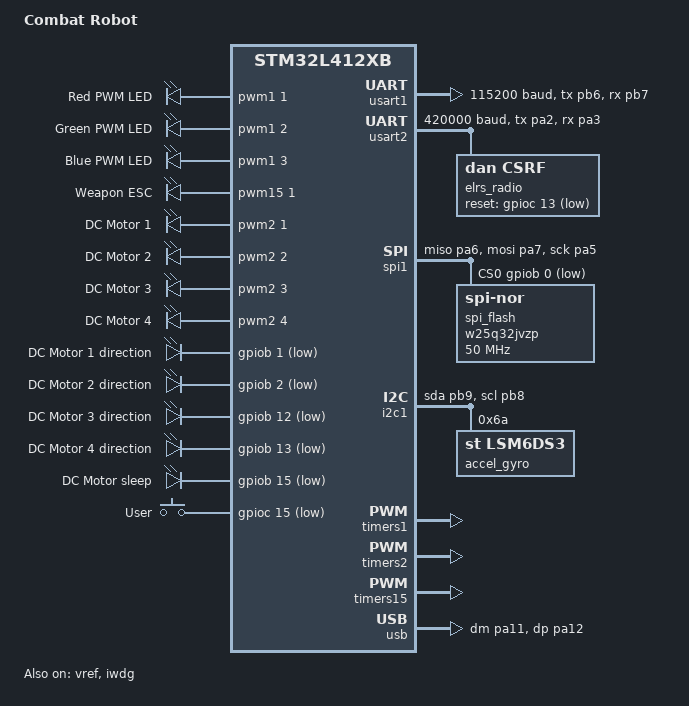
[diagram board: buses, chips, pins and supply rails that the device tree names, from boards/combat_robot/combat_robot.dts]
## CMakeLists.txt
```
cmake_minimum_required(VERSION 3.20.0)

find_package(Zephyr REQUIRED HINTS $ENV{ZEPHYR_BASE})
project(combat_robot)

target_sources(app PRIVATE
    src/main.c
    src/led.c
)

add_subdirectory(drivers/misc)
add_subdirectory(drivers/sensor)

include_directories(include)
```

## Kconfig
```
source "Kconfig.zephyr"

rsource "drivers/**/Kconfig"
```

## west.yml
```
manifest:
  version: "0.13"

  remotes:
    - name: zephyrproject
      url-base: https://github.com/zephyrproject-rtos

  projects:
    - name: zephyr
      remote: zephyrproject
      revision: v4.0.0
      import: True

  self:
    path: firmware
```

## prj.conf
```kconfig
CONFIG_PICOLIBC=y
CONFIG_ASSERT=y
CONFIG_REBOOT=y
CONFIG_FPU=y

CONFIG_UART_CONSOLE=y

CONFIG_LOG=y
CONFIG_LOG_MODE_DEFERRED=y
CONFIG_LOG_BACKEND_UART=y

CONFIG_LED=y
CONFIG_SENSOR=y

# Required when we're using CDC for logging
CONFIG_USB_CDC_ACM_LOG_LEVEL_OFF=y

CONFIG_WATCHDOG=y
```

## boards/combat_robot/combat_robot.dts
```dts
/*
 * Copyright (c) 2024 Dan Collins
 */

/dts-v1/;
#include <st/l4/stm32l412XB.dtsi>
#include <st/l4/stm32l412cbtx-pinctrl.dtsi>

#include <zephyr/dt-bindings/input/input-event-codes.h>
#include <zephyr/dt-bindings/pwm/pwm.h>

/ {
	model = "Combat Robot";
	compatible = "dancollins,combat_robot";

	chosen {
		zephyr,console = &cdc_acm_uart0;
		zephyr,shell-uart = &cdc_acm_uart0;
		zephyr,sram = &sram0;
		zephyr,flash = &flash0;

		combat,esc-uart = &usart1;
	};

	rgb-led {
		compatible = "pwm-leds";

		red_led_pwm: led_pwm_0 {
			pwms = <&pwm1 1 PWM_MSEC(20) PWM_POLARITY_INVERTED>;
			label = "Red PWM LED";
		};

		green_led_pwm: led_pwm_1 {
			pwms = <&pwm1 2 PWM_MSEC(20) PWM_POLARITY_INVERTED>;
			label = "Green PWM LED";
		};

		blue_led_pwm: led_pwm_2 {
			pwms = <&pwm1 3 PWM_MSEC(20) PWM_POLARITY_INVERTED>;
			label = "Blue PWM LED";
		};
	};

	esc {
		compatible = "pwm-leds";

		esc0: esc_0 {
			pwms = <&pwm15 1 PWM_MSEC(20) PWM_POLARITY_NORMAL>;
			label = "Weapon ESC";
		};
	};

	dc-motors {
		compatible = "pwm-leds";

		dc1: dc1 {
			pwms = <&pwm2 1 PWM_MSEC(20) PWM_POLARITY_NORMAL>;
			label = "DC Motor 1";
		};

		dc2: dc2 {
			pwms = <&pwm2 2 PWM_MSEC(20) PWM_POLARITY_NORMAL>;
			label = "DC Motor 2";
		};

		dc3: dc3 {
			pwms = <&pwm2 3 PWM_MSEC(20) PWM_POLARITY_NORMAL>;
			label = "DC Motor 3";
		};

		dc4: dc4 {
			pwms = <&pwm2 4 PWM_MSEC(20) PWM_POLARITY_NORMAL>;
			label = "DC Motor 4";
		};
	};

	dc-dir1 {
		compatible = "gpio-leds";

		dc_dir1: dc_dir1 {
			gpios = <&gpiob 1 GPIO_ACTIVE_LOW>;
			label = "DC Motor 1 direction";
		};
	};

	dc-dir2 {
		compatible = "gpio-leds";

		dc_dir2: dc_dir2 {
			gpios = <&gpiob 2 GPIO_ACTIVE_LOW>;
			label = "DC Motor 2 direction";
		};
	};

	dc-dir3 {
		compatible = "gpio-leds";

		dc_dir3: dc_dir3 {
			gpios = <&gpiob 12 GPIO_ACTIVE_LOW>;
			label = "DC Motor 3 direction";
		};
	};

	dc-dir4 {
		compatible = "gpio-leds";

		dc_dir4: dc_dir4 {
			gpios = <&gpiob 13 GPIO_ACTIVE_LOW>;
			label = "DC Motor 4 direction";
		};
	};

	dc-sleep {
		compatible = "gpio-leds";

		dc_sleep: sleep {
			gpios = <&gpiob 15 GPIO_ACTIVE_LOW>;
			label = "DC Motor sleep";
		};
	};

	gpio_keys {
		compatible = "gpio-keys";
		user_button: button {
			label = "User";
			gpios = <&gpioc 15 GPIO_ACTIVE_LOW>;
			zephyr,code = <INPUT_KEY_0>;
		};
	};

	aliases {
		watchdog0 = &iwdg;
	};
};

&usart1 {
	status = "okay";

	current-speed = <115200>;

	pinctrl-0 = <&usart1_tx_pb6 &usart1_rx_pb7>;
	pinctrl-names = "default";
};

&usart2 {
	status = "okay";

	current-speed = <420000>;

	pinctrl-0 = <&usart2_tx_pa2 &usart2_rx_pa3>;
	pinctrl-names = "default";

	elrs_radio: elrs_radio {
		compatible = "dan,csrf";

		reset-gpios = <&gpioc 13 GPIO_ACTIVE_LOW>;
	};
};

&spi1 {
	status = "okay";

	cs-gpios = <&gpiob 0 GPIO_ACTIVE_LOW>;

	pinctrl-0 = <&spi1_miso_pa6 &spi1_mosi_pa7 &spi1_sck_pa5>;
	pinctrl-names = "default";

	spi_flash: w25q32jvzp@0 {
		compatible = "jedec,spi-nor";
		status = "okay";
		reg = < 0 >;
		spi-max-frequency = < DT_FREQ_M(50) >;
		size = < 0x2000000 >; /* 32 Mbit */
		jedec-id = [ ef 40 16 ];

		has-dpd;
		t-enter-dpd = < 3000 >;
		t-exit-dpd = < 30000 >;
	};
};

&i2c1 {
	status = "okay";

	pinctrl-0 = <&i2c1_sda_pb9 &i2c1_scl_pb8>;
	pinctrl-names = "default";

	accel_gyro: lsm6ds3@6a {
		compatible = "st,lsm6ds3";
		reg = <0x6a>;
	};
};

&timers1 {
	status = "okay";
	st,prescaler = <10000>;

	/* RGB LEDs. */
	pwm1: pwm {
		status = "okay";
		pinctrl-0 = <&tim1_ch1_pa8 &tim1_ch2_pa9 &tim1_ch3_pa10>;
		pinctrl-names = "default";
	};
};

&timers2 {
	status = "okay";
	st,prescaler = <10000>;

	/* DC motor drivers. */
	pwm2: pwm {
		status = "okay";
		pinctrl-0 = <&tim2_ch1_pa15 &tim2_ch2_pb3 &tim2_ch3_pb10 &tim2_ch4_pb11>;
		pinctrl-names = "default";
	};
};

&timers15 {
	status = "okay";
	st,prescaler = <10000>;

	pwm15: pwm {
		status = "okay";
		pinctrl-0 = <&tim15_ch1_pb14>;
		pinctrl-names = "default";
	};
};

zephyr_udc0: &usb {
	pinctrl-0 = <&usb_dm_pa11 &usb_dp_pa12>;
	pinctrl-names = "default";
	status = "okay";

	cdc_acm_uart0: cdc_acm_uart0 {
		compatible = "zephyr,cdc-acm-uart";
	};
};

&clk_lsi {
	status = "okay";
};

&clk_hsi {
	status = "okay";
};

&clk_hsi48 {
	status = "okay";
};

&pll {
	div-m = <1>;
	mul-n = <10>;
	div-q = <2>;
	div-r = <2>;
	clocks = <&clk_hsi>;
	status = "okay";
};

&rcc {
	clocks = <&pll>;
	clock-frequency = <DT_FREQ_M(80)>;
	ahb-prescaler = <1>;
	apb1-prescaler = <1>;
	apb2-prescaler = <1>;
};

&vref {
	status = "okay";
};

&iwdg {
	status = "okay";
};

&wwdg {
	status = "disabled";
};
```

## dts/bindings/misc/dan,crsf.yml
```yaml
description: Dan's Crossfire driver - compatible with ExpressLRS

compatible: "dan,csrf"

include: base.yaml

properties:
  reset-gpios:
    description: GPIO pin to reset the receiver
    type: phandle-array
```

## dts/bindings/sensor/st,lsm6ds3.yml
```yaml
description: |
  LSM6DS3TR-C iNEMO 6DoF inertial measurement unit.

compatible: "st,lsm6ds3"

include: [sensor-device.yaml, i2c-device.yaml]
```

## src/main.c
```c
#include "main.h"

#include <math.h>
#include <string.h>
#include <zephyr/device.h>
#include <zephyr/drivers/flash.h>
#include <zephyr/drivers/gpio.h>
#include <zephyr/drivers/led.h>
#include <zephyr/drivers/pwm.h>
#include <zephyr/drivers/uart.h>
#include <zephyr/drivers/watchdog.h>
#include <zephyr/kernel.h>

#include "drivers/misc/csrf.h"

static const struct device *const wdt = DEVICE_DT_GET(DT_ALIAS(watchdog0));

static const struct device *elrs_radio =
    DEVICE_DT_GET(DT_NODELABEL(elrs_radio));

static const struct device *imu = DEVICE_DT_GET(DT_NODELABEL(accel_gyro));

static const struct pwm_dt_spec esc_pwm = PWM_DT_SPEC_GET(DT_NODELABEL(esc0));

static const struct pwm_dt_spec dc_motor_1 = PWM_DT_SPEC_GET(DT_NODELABEL(dc1));
static const struct pwm_dt_spec dc_motor_2 = PWM_DT_SPEC_GET(DT_NODELABEL(dc2));
static const struct pwm_dt_spec dc_motor_3 = PWM_DT_SPEC_GET(DT_NODELABEL(dc3));
static const struct pwm_dt_spec dc_motor_4 = PWM_DT_SPEC_GET(DT_NODELABEL(dc4));

static const struct gpio_dt_spec dc_motor_1_dir =
    GPIO_DT_SPEC_GET(DT_NODELABEL(dc_dir1), gpios);

static const struct gpio_dt_spec dc_motor_2_dir =
    GPIO_DT_SPEC_GET(DT_NODELABEL(dc_dir2), gpios);

static const struct gpio_dt_spec dc_motor_3_dir =
    GPIO_DT_SPEC_GET(DT_NODELABEL(dc_dir3), gpios);

static const struct gpio_dt_spec dc_motor_4_dir =
    GPIO_DT_SPEC_GET(DT_NODELABEL(dc_dir4), gpios);

static const struct gpio_dt_spec dc_motor_sleep =
    GPIO_DT_SPEC_GET(DT_NODELABEL(dc_sleep), gpios);

/* Work for killing the motors if the radio stops. */
static void stop_motors_work_handler(struct k_work *work);
K_WORK_DELAYABLE_DEFINE(stop_motors_work, stop_motors_work_handler);

static k_timeout_t stop_motors_timeout = K_MSEC(500);

static bool armed = false;

struct rcmix_data
{
    uint32_t fleft, rleft;
    bool fleft_dir, rleft_dir;

    uint32_t fright, rright;
    bool fright_dir, rright_dir;

    uint32_t weapon_pulse;
} rcmix_data;

static void update_channel_data(struct rcmix_data *data,
                                const struct csrf_channel_data *channels)
{
    /* RC channels run 0-2047.
     * Weapon ESC is 1000-2000 us.
     * DC motors are 0-20000 us. */

    static unsigned left_ch = 2;
    static unsigned right_ch = 1;
    static unsigned arm_btn = 7;
    static unsigned weapon_ch = 9;

    float left = channels->ch[left_ch] - 1024;
    float right = channels->ch[right_ch] - 1024;
    uint16_t weapon = channels->ch[weapon_ch];

    armed = channels->ch[arm_btn] > 1024;

    left = CLAMP(left / 1024.0f, -1.0f, 1.0f);
    right = CLAMP(right / 1024.0f, -1.0f, 1.0f);

    data->fleft = (uint32_t)(fabsf(left) * 20000000);
    data->fleft = CLAMP(data->fleft, 0, 20000000);

    data->fright = (uint32_t)(fabsf(right) * 20000000);
    data->fright = CLAMP(data->fright, 0, 20000000);

    data->rleft = data->fleft;
    data->rright = data->fright;

    if (left > 0) {
        data->fleft_dir = false;
        data->rleft_dir = false;
    } else {
        data->fleft_dir = true;
        data->rleft_dir = true;
    }

    if (right > 0) {
        data->fright_dir = true;
        data->rright_dir = true;
    } else {
        data->fright_dir = false;
        data->rright_dir = false;
    }

    const unsigned weapon_pulse_min = 1000000;
    const unsigned weapon_pulse_max = 2000000;

    data->weapon_pulse = (weapon * 500) + 1000000;
    data->weapon_pulse =
        CLAMP(data->weapon_pulse, weapon_pulse_min, weapon_pulse_max);

    if (armed) {
        led_set_state(LED_STATE_ARMED);
    } else {
        led_set_state(LED_STATE_DISARMED);
        data->weapon_pulse = weapon_pulse_min;
    }
}

static void csrf_channel_callback(const struct csrf_channel_data *channels)
{
    static unsigned count = 0;

    update_channel_data(&rcmix_data, channels);

    count++;
    if (count > 1000) {
        printk("ch");
        for (int i = 0; i < 16; i++) {
            printk(" %d", channels->ch[i]);
        }
        printk("\n");
        count = 0;
    }

    k_work_reschedule(&stop_motors_work, stop_motors_timeout);

    if (rcmix_data.fleft == 0 && rcmix_data.rleft == 0 &&
        rcmix_data.fright == 0 && rcmix_data.rright == 0) {
        gpio_pin_set_dt(&dc_motor_sleep, 1);
    } else {
        gpio_pin_set_dt(&dc_motor_sleep, 0);
    }

    /* Here's the mapping between logical channels and PWM channels! */
    gpio_pin_set_dt(&dc_motor_1_dir, rcmix_data.fleft_dir);
    gpio_pin_set_dt(&dc_motor_2_dir, !rcmix_data.fright_dir);
    gpio_pin_set_dt(&dc_motor_3_dir, rcmix_data.rright_dir);
    gpio_pin_set_dt(&dc_motor_4_dir, !rcmix_data.rleft_dir);

    pwm_set_pulse_dt(&dc_motor_1, rcmix_data.fleft);
    pwm_set_pulse_dt(&dc_motor_2, rcmix_data.fright);
    pwm_set_pulse_dt(&dc_motor_3, rcmix_data.rright);
    pwm_set_pulse_dt(&dc_motor_4, rcmix_data.rleft);

    pwm_set_pulse_dt(&esc_pwm, rcmix_data.weapon_pulse);
}

static void stop_motors_work_handler(struct k_work *work)
{
    pwm_set_pulse_dt(&dc_motor_1, 0);
    pwm_set_pulse_dt(&dc_motor_2, 0);
    pwm_set_pulse_dt(&dc_motor_3, 0);
    pwm_set_pulse_dt(&dc_motor_4, 0);

    pwm_set_pulse_dt(&esc_pwm, 1000000);

    led_set_state(LED_STATE_NO_RADIO);
}

static void init_watchdog(void)
{
    const unsigned wdt_min = 0;
    const unsigned wdt_max = 3000;

    int rc;

    if (!device_is_ready(wdt)) {
        printk("%s: device not ready.\n", wdt->name);
        return;
    }

    struct wdt_timeout_cfg wdt_config = {
        /* Reset SoC when watchdog timer expires. */
        .flags = WDT_FLAG_RESET_SOC,

        /* Expire watchdog after max window */
        .window.min = wdt_min,
        .window.max = wdt_max,
    };

    rc = wdt_install_timeout(wdt, &wdt_config);
    if (rc < 0) {
        printk("Failed to configure WDT.");
        return;
    }

    rc = wdt_setup(wdt, WDT_OPT_PAUSE_HALTED_BY_DBG);
    if (rc < 0) {
        printk("Failed to setup WDT.");
        return;
    }
}

int main(void)
{
    init_watchdog();

    if (!device_is_ready(elrs_radio)) {
        printk("ELRS radio device not ready\n");
    }

    if (!device_is_ready(imu)) {
        printk("IMU not ready\n");
    }

    printk("Hello, world!\n");

    csrf_set_channel_callback(elrs_radio, csrf_channel_callback);

    /* Zero out our speeds until we've got control data. */
    memset(&rcmix_data, 0, sizeof(rcmix_data));
    rcmix_data.weapon_pulse = 1000000;

    gpio_pin_set_dt(&dc_motor_sleep, 1);

    gpio_pin_set_dt(&dc_motor_1_dir, 0);
    gpio_pin_set_dt(&dc_motor_2_dir, 0);
    gpio_pin_set_dt(&dc_motor_3_dir, 0);
    gpio_pin_set_dt(&dc_motor_4_dir, 0);

    pwm_set_pulse_dt(&dc_motor_1, 0);
    pwm_set_pulse_dt(&dc_motor_2, 0);
    pwm_set_pulse_dt(&dc_motor_3, 0);
    pwm_set_pulse_dt(&dc_motor_4, 0);

    pwm_set_pulse_dt(&esc_pwm, 1000000);

    led_set_state(LED_STATE_NO_RADIO);

    while (1) {
        wdt_feed(wdt, 0);
        k_sleep(K_SECONDS(1));
    }

    return 0;
}
```

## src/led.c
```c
#include <zephyr/drivers/led.h>
#include <zephyr/kernel.h>

#include "main.h"

static const struct device *rgb = DEVICE_DT_GET(DT_PATH(rgb_led));

/**
 * @brief A colour in RGB space.
 */
struct rgb_colour
{
    uint8_t r, g, b;
};

/**
 * @brief A frame in the LED animation.
 */
struct frame
{
    /* The colour to set the LED to. */
    struct rgb_colour colour;
    /* How long to stay in this frame. */
    unsigned duration_ms;
};

#define RGB(r_, g_, b_) {.r = r_, .g = g_, .b = b_}

#define LED_PATTERN_BLINK2(colour_, interval_on_, interval_off_) \
    {                                                            \
        {.colour = colour_, .duration_ms = interval_on_},        \
        {                                                        \
            .colour = RGB(0, 0, 0), .duration_ms = interval_off_ \
        }                                                        \
    }

#define LED_PATTERN_BLINK(colour_, interval_)                \
    {                                                        \
        {.colour = colour_, .duration_ms = interval_},       \
        {                                                    \
            .colour = RGB(0, 0, 0), .duration_ms = interval_ \
        }                                                    \
    }

static const struct frame pattern_init[] = {
    {.colour = RGB(100, 100, 100), .duration_ms = 500}};

static const struct frame pattern_no_radio[] =
    LED_PATTERN_BLINK2(RGB(0, 0, 100), 30, 1000);

static const struct frame pattern_disarmed[] =
    LED_PATTERN_BLINK2(RGB(0, 100, 0), 30, 500);

static const struct frame pattern_armed[] =
    LED_PATTERN_BLINK2(RGB(100, 0, 0), 30, 100);

static enum led_state current_state = LED_STATE_INIT;
static const struct frame *current_pattern = NULL;
static unsigned frame_index = 0;
static unsigned pattern_length = 0;
static unsigned time_ms = 0;

static void led_timer_handler(struct k_timer *timer);
K_TIMER_DEFINE(led_timer, led_timer_handler, NULL);

static void led_work_handler(struct k_work *work);
K_WORK_DEFINE(led_work, led_work_handler);

static void led_timer_handler(struct k_timer *timer)
{
    k_work_submit(&led_work);
}

static void led_work_handler(struct k_work *work)
{
    const struct frame *frame = &current_pattern[frame_index];

    led_set_brightness(rgb, 0, frame->colour.r);
    led_set_brightness(rgb, 1, frame->colour.g);
    led_set_brightness(rgb, 2, frame->colour.b);

    time_ms += 10;
    if (time_ms >= frame->duration_ms) {
        time_ms = 0;
        frame_index++;
    }

    if (frame_index >= pattern_length) {
        frame_index = 0;
    }
}

void led_set_state(enum led_state state)
{
    if (current_state == state) {
        return;
    }

    switch (state) {
        case LED_STATE_NO_RADIO:
            current_pattern = pattern_no_radio;
            pattern_length = ARRAY_SIZE(pattern_no_radio);
            break;

        case LED_STATE_DISARMED:
            current_pattern = pattern_disarmed;
            pattern_length = ARRAY_SIZE(pattern_disarmed);
            break;

        case LED_STATE_ARMED:
            current_pattern = pattern_armed;
            pattern_length = ARRAY_SIZE(pattern_armed);
            break;

        case LED_STATE_INIT:
        default:
            current_pattern = pattern_init;
            pattern_length = ARRAY_SIZE(pattern_init);
            break;
    }

    frame_index = 0;
    current_state = state;
}

static int led_init(void)
{
    if (!device_is_ready(rgb)) {
        return -ENODEV;
    }

    current_pattern = pattern_init;
    pattern_length = ARRAY_SIZE(pattern_init);
    frame_index = 0;
    current_state = LED_STATE_INIT;

    k_timer_start(&led_timer, K_MSEC(10), K_MSEC(10));

    return 0;
}

SYS_INIT(led_init, APPLICATION, 99);
```

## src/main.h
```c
#ifndef MAIN_H
#define MAIN_H

enum led_state
{
    /* Just powered on. */
    LED_STATE_INIT,
    /* Radio is not connected. */
    LED_STATE_NO_RADIO,
    /* Radio is connected, but weapon is disabled. */
    LED_STATE_DISARMED,
    /* Radio is connected and weapon is hot! */
    LED_STATE_ARMED,
};

extern void led_set_state(enum led_state state);

#endif /* MAIN_H */
```
